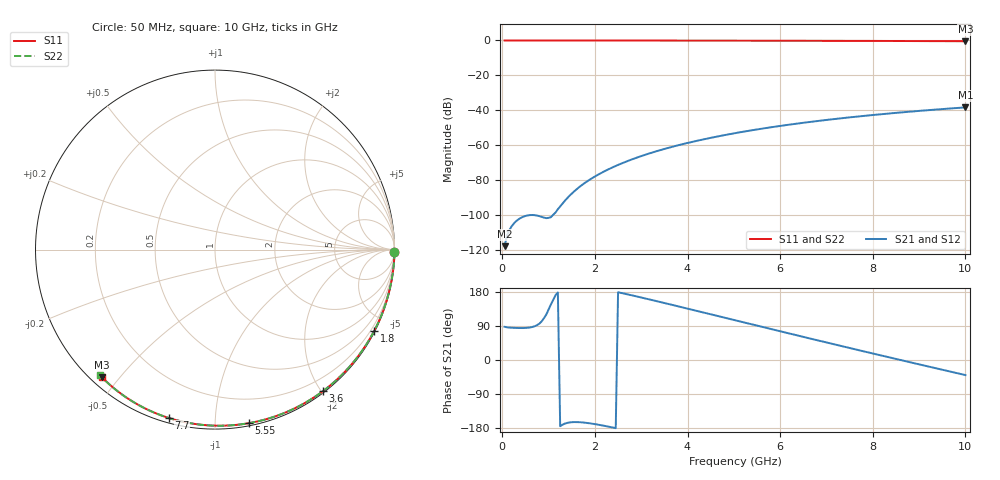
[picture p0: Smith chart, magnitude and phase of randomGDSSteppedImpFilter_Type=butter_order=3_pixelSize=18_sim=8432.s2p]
! freq	dB(S11)	phase(S11)	dB(S12)	phase(S12)
!  dB(S21)	phase(S21)	dB(S22)	phase(S22)
!S-par simulation data
#  GHz  S  DB  R 50
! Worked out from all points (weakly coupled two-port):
!   200 points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, 50 MHz to 10 GHz, reference 50 ohm
!   highest |S21| = -38.36 dB at 10 GHz (marker M1); lowest = -117.9 dB at 50 MHz (marker M2)
!   lowest |S11| = -0.4 dB at 10 GHz (marker M3), VSWR 38.94, Z = 1.54 - j22.4 ohm
!   |S11| at or under -10 dB: nowhere
!   |S22| runs from -0.4 to 0.0 dB; largest |S21 - S12| = 0
!   S11 on the Smith chart (normalised r, x): 50 MHz: open; 1.8 GHz: 0.04, -4.17; 3.6 GHz: 0.02, -2.01; 5.55 GHz: 0.02, -1.22; 7.7 GHz: 0.02, -0.76; 10 GHz: 0.03, -0.45
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0.05  -0.00 -0.8  -117.87 87.6  -117.87 87.6  -0.00 -0.8
0.9  -0.02 -13.6  -101.52 110.3  -101.52 110.3  -0.02 -13.7
1.75  -0.03 -26.3  -82.25 -165.0  -82.25 -165.0  -0.03 -26.4
1.8  -0.03 -27.0  -81.31 -165.6  -81.31 -165.6  -0.03 -27.1
1.85  -0.04 -27.7  -80.42 -166.4  -80.42 -166.4  -0.04 -27.9
1.9  -0.04 -28.5  -79.56 -167.2  -79.56 -167.2  -0.04 -28.6
2.05  -0.04 -30.7  -77.18 -170.2  -77.18 -170.2  -0.04 -30.8
2.25  -0.04 -33.6  -74.37 -174.8  -74.37 -174.8  -0.04 -33.8
2.45  -0.05 -36.5  -71.89 -179.9  -71.89 -179.9  -0.05 -36.7
2.65  -0.05 -39.4  -69.67 174.8  -69.67 174.8  -0.05 -39.6
3  -0.06 -44.4  -66.26 165.0  -66.26 165.0  -0.06 -44.6
3.4  -0.07 -50.0  -62.92 153.4  -62.92 153.4  -0.07 -50.3
3.6  -0.07 -52.8  -61.43 147.5  -61.43 147.5  -0.07 -53.1
4.3  -0.09 -62.4  -56.92 126.6  -56.92 126.6  -0.09 -62.7
5.05  -0.11 -72.4  -53.00 104.2  -53.00 104.2  -0.11 -72.7
5.55  -0.13 -78.8  -50.77 89.2  -50.77 89.2  -0.13 -79.3
6.1  -0.15 -85.8  -48.60 72.8  -48.60 72.8  -0.15 -86.3
6.7  -0.18 -93.3  -46.50 55.1  -46.50 55.1  -0.18 -93.7
7.7  -0.24 -105.3  -43.51 25.8  -43.51 25.8  -0.24 -105.8
8.35  -0.29 -112.9  -41.85 7.1  -41.85 7.1  -0.29 -113.5
9.15  -0.36 -122.1  -40.04 -15.7  -40.04 -15.7  -0.36 -122.8
10  -0.45 -131.7  -38.36 -39.8  -38.36 -39.8  -0.45 -132.5
